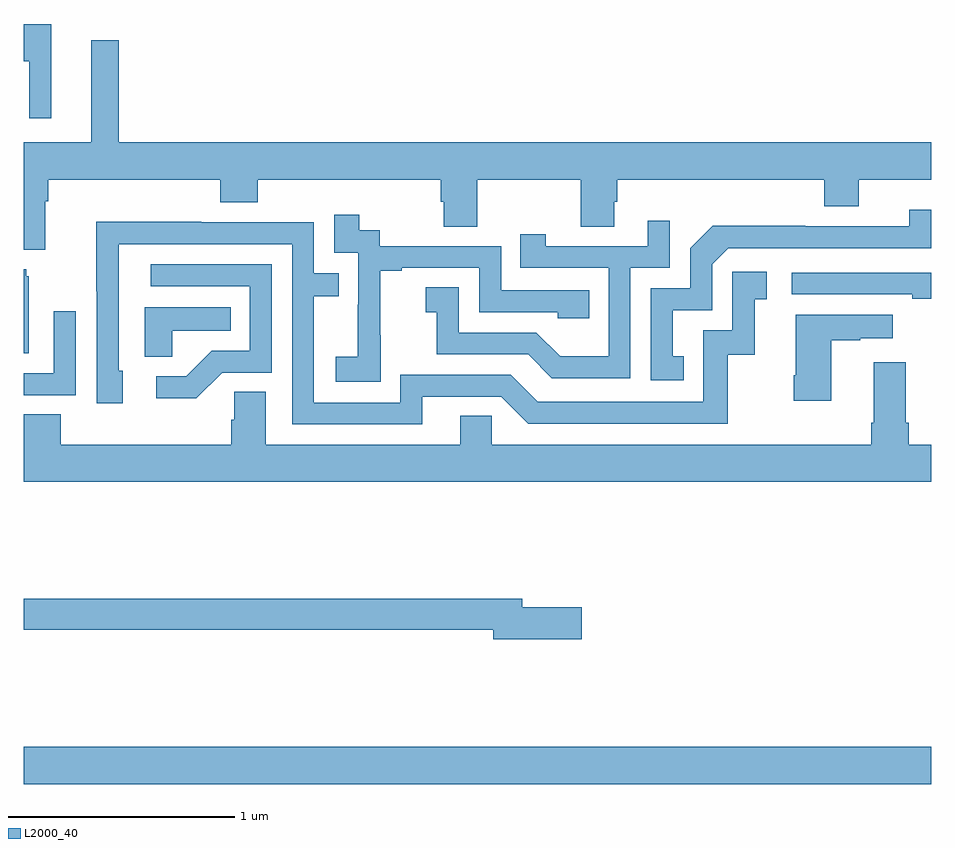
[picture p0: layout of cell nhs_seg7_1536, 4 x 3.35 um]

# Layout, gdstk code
import gdstk
lib = gdstk.Library(unit=1e-6, precision=1e-09)
def R(c, l, rs):  # rectangles x0, y0, x1, y1
    for r in rs: c.add(gdstk.rectangle(r[:2], r[2:], *l))
def P(c, l, *ps):  # polygons
    for p in ps: c.add(gdstk.Polygon(p, *l))
L2000_40 = (2000, 40)

nhs_seg7_1536 = lib.new_cell('nhs_seg7_1536')
R(nhs_seg7_1536, L2000_40, [(215,1052.564,219,1052.728)])
P(nhs_seg7_1536, L2000_40, [(215.122,1055.914),(215,1055.914),(215,1055.75),(215.024,1055.75),(215.024,1055.499),(215.122,1055.499)],
  [(215.095,1055.132),(215.108,1055.132),(215.108,1055.228),(215.867,1055.228),(215.867,1055.129),(216.032,1055.129),(216.032,1055.228),(216.839,1055.228),(216.839,1055.13),(216.851,1055.13),(216.851,1055.02),(216.999,1055.02),(216.999,1055.228),(217.456,1055.228),(217.456,1055.02),(217.603,1055.02),(217.603,1055.13),(217.616,1055.13),(217.616,1055.228),(218.528,1055.228),(218.528,1055.111),(218.68,1055.111),(218.68,1055.228),(219,1055.228),(219,1055.392),(215.419,1055.392),(215.419,1055.842),(215.297,1055.842),(215.297,1055.392),(215,1055.392),(215,1054.919),(215.095,1054.919)],
  [(217.91,1054.449),(217.861,1054.449),(217.861,1054.653),(218.034,1054.653),(218.034,1054.854),(218.106,1054.926),(219,1054.926),(219,1055.095),(218.904,1055.095),(218.904,1055.022),(218.444,1055.022),(218.444,1055.024),(218.036,1055.024),(217.938,1054.926),(217.938,1054.749),(217.764,1054.749),(217.764,1054.344),(217.91,1054.344)],
  [(216.573,1054.543),(216.572,1054.543),(216.572,1054.827),(216.667,1054.827),(216.667,1054.839),(217.008,1054.839),(217.008,1054.644),(217.353,1054.644),(217.353,1054.617),(217.493,1054.617),(217.493,1054.74),(217.104,1054.74),(217.104,1054.935),(216.57,1054.935),(216.57,1055.004),(216.478,1055.004),(216.478,1055.074),(216.369,1055.074),(216.369,1054.905),(216.474,1054.905),(216.474,1054.676),(216.473,1054.676),(216.473,1054.447),(216.375,1054.447),(216.375,1054.337),(216.573,1054.337)],
  [(217.674,1054.839),(217.848,1054.839),(217.848,1055.047),(217.751,1055.047),(217.751,1054.935),(217.3,1054.935),(217.3,1054.987),(217.189,1054.987),(217.189,1054.839),(217.578,1054.839),(217.578,1054.45),(217.364,1054.45),(217.26,1054.554),(216.918,1054.554),(216.918,1054.753),(216.771,1054.753),(216.771,1054.643),(216.82,1054.643),(216.82,1054.458),(217.223,1054.458),(217.328,1054.353),(217.674,1054.353)],
  [(216.757,1054.272),(217.104,1054.272),(217.224,1054.152),(218.104,1054.152),(218.104,1054.455),(218.222,1054.455),(218.222,1054.701),(218.275,1054.701),(218.275,1054.822),(218.124,1054.822),(218.124,1054.563),(217.995,1054.563),(217.995,1054.248),(217.266,1054.248),(217.146,1054.368),(216.66,1054.368),(216.66,1054.245),(216.279,1054.245),(216.279,1054.714),(216.389,1054.714),(216.389,1054.815),(216.279,1054.815),(216.279,1055.04),(215.783,1055.04),(215.783,1055.042),(215.32,1055.042),(215.32,1054.735),(215.322,1054.735),(215.322,1054.242),(215.437,1054.242),(215.437,1054.386),(215.418,1054.386),(215.418,1054.944),(216.183,1054.944),(216.183,1054.149),(216.757,1054.149)],
  [(215.874,1054.377),(216.093,1054.377),(216.093,1054.854),(215.559,1054.854),(215.559,1054.758),(215.997,1054.758),(215.997,1054.473),(215.828,1054.473),(215.717,1054.362),(215.583,1054.362),(215.583,1054.265),(215.761,1054.265)],
  [(215.023,1054.803),(215.012,1054.803),(215.012,1054.834),(215,1054.834),(215,1054.463),(215.023,1054.463)],
  [(219,1054.818),(218.385,1054.818),(218.385,1054.722),(218.917,1054.722),(218.917,1054.702),(219,1054.702)],
  [(215.655,1054.562),(215.912,1054.562),(215.912,1054.666),(215.534,1054.666),(215.534,1054.447),(215.655,1054.447)],
  [(215.229,1054.648),(215.133,1054.648),(215.133,1054.374),(215,1054.374),(215,1054.278),(215.229,1054.278)],
  [(218.56,1054.519),(218.687,1054.519),(218.687,1054.529),(218.83,1054.529),(218.83,1054.633),(218.402,1054.633),(218.402,1054.366),(218.395,1054.366),(218.395,1054.254),(218.56,1054.254)],
  [(219,1054.06),(218.9,1054.06),(218.9,1054.156),(218.887,1054.156),(218.887,1054.423),(218.747,1054.423),(218.747,1054.156),(218.735,1054.156),(218.735,1054.06),(217.062,1054.06),(217.062,1054.187),(216.923,1054.187),(216.923,1054.06),(216.067,1054.06),(216.067,1054.292),(215.928,1054.292),(215.928,1054.169),(215.915,1054.169),(215.915,1054.06),(215.162,1054.06),(215.162,1054.193),(215,1054.193),(215,1053.896),(219,1053.896)],
  [(217.459,1053.344),(217.198,1053.344),(217.198,1053.38),(215,1053.38),(215,1053.244),(217.07,1053.244),(217.07,1053.202),(217.459,1053.202)])

lib.write_gds('nhs_seg7_1536.gds')
